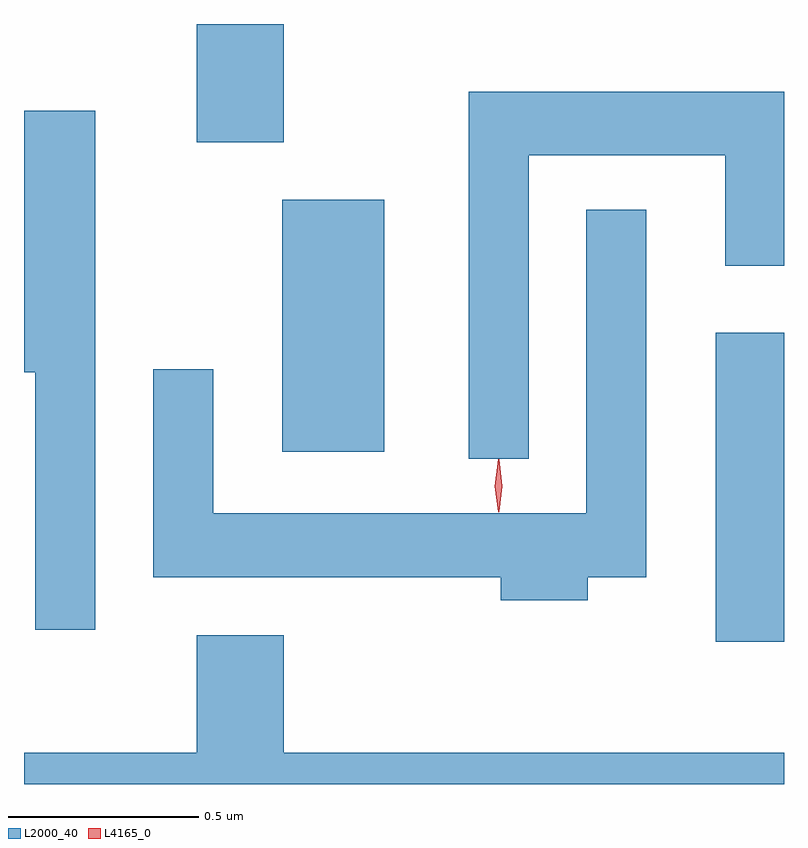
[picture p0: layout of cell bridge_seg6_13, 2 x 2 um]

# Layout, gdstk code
import gdstk
lib = gdstk.Library(unit=1e-6, precision=1e-09)
def R(c, l, rs):  # rectangles x0, y0, x1, y1
    for r in rs: c.add(gdstk.rectangle(r[:2], r[2:], *l))
def P(c, l, *ps):  # polygons
    for p in ps: c.add(gdstk.Polygon(p, *l))
L2000_40 = (2000, 40)
L4165_0 = (4165, 0)

bridge_seg6_13 = lib.new_cell('bridge_seg6_13')
R(bridge_seg6_13, L2000_40, [(1435.186,1654.936,1435.366,1655.749), (1434.046,1655.436,1434.314,1656.099), (1433.821,1656.251,1434.049,1656.562)])
P(bridge_seg6_13, L2000_40, [(1434.694,1656.216),(1435.211,1656.216),(1435.211,1655.926),(1435.366,1655.926),(1435.366,1656.384),(1434.536,1656.384),(1434.536,1655.418),(1434.694,1655.418)],
  [(1433.554,1656.334),(1433.366,1656.334),(1433.366,1655.646),(1433.396,1655.646),(1433.396,1654.968),(1433.554,1654.968)],
  [(1434.849,1655.106),(1435.004,1655.106),(1435.004,1656.073),(1434.846,1656.073),(1434.846,1655.274),(1433.864,1655.274),(1433.864,1655.653),(1433.706,1655.653),(1433.706,1655.106),(1434.621,1655.106),(1434.621,1655.046),(1434.849,1655.046)],
  [(1435.366,1654.644),(1434.049,1654.644),(1434.049,1654.954),(1433.821,1654.954),(1433.821,1654.644),(1433.366,1654.644),(1433.366,1654.562),(1435.366,1654.562)])
P(bridge_seg6_13, L4165_0, [(1434.615,1655.277),(1434.614,1655.278),(1434.605,1655.346),(1434.614,1655.416),(1434.615,1655.416),(1434.616,1655.416),(1434.625,1655.346),(1434.616,1655.278)],
  [(1434.615,1655.279),(1434.614,1655.28),(1434.605,1655.346),(1434.614,1655.412),(1434.615,1655.413),(1434.615,1655.412),(1434.625,1655.346),(1434.615,1655.28)])

lib.write_gds('bridge_seg6_13.gds')
